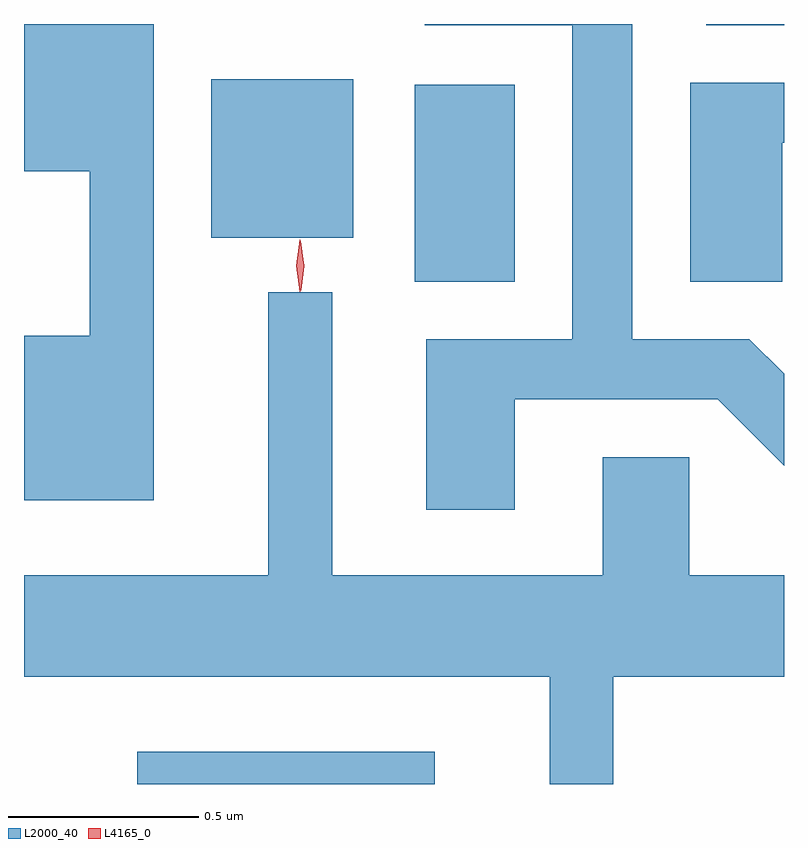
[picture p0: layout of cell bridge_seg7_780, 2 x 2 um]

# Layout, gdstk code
import gdstk
lib = gdstk.Library(unit=1e-6, precision=1e-09)
def R(c, l, rs):  # rectangles x0, y0, x1, y1
    for r in rs: c.add(gdstk.rectangle(r[:2], r[2:], *l))
def P(c, l, *ps):  # polygons
    for p in ps: c.add(gdstk.Polygon(p, *l))
L2000_40 = (2000, 40)
L4165_0 = (4165, 0)

bridge_seg7_780 = lib.new_cell('bridge_seg7_780')
R(bridge_seg7_780, L2000_40, [(470.966,1749.554,471.749,1749.639), (471.696,1750.876,471.959,1751.394), (471.161,1750.991,471.534,1751.409), (472.463,1751.551,472.668,1751.554)])
P(bridge_seg7_780, L2000_40, [(471.009,1751.554),(470.668,1751.554),(470.668,1751.166),(470.841,1751.166),(470.841,1750.734),(470.668,1750.734),(470.668,1750.301),(471.009,1750.301)],
  [(471.959,1750.566),(472.494,1750.566),(472.668,1750.392),(472.668,1750.633),(472.577,1750.724),(472.269,1750.724),(472.269,1751.554),(471.723,1751.554),(471.723,1751.551),(472.111,1751.551),(472.111,1750.724),(471.726,1750.724),(471.726,1750.276),(471.959,1750.276)],
  [(472.664,1751.241),(472.668,1751.241),(472.668,1751.399),(472.421,1751.399),(472.421,1750.876),(472.664,1750.876)],
  [(472.219,1749.836),(472.668,1749.836),(472.668,1750.104),(472.419,1750.104),(472.419,1750.414),(472.191,1750.414),(472.191,1750.104),(471.479,1750.104),(471.479,1750.848),(471.311,1750.848),(471.311,1750.104),(470.668,1750.104),(470.668,1749.836),(472.051,1749.836),(472.051,1749.554),(472.219,1749.554)])
P(bridge_seg7_780, L4165_0, [(471.394,1750.85),(471.385,1750.918),(471.394,1750.986),(471.395,1750.986),(471.395,1750.986),(471.405,1750.918),(471.395,1750.85),(471.395,1750.85)],
  [(471.396,1750.853),(471.386,1750.917),(471.396,1750.982),(471.396,1750.982),(471.396,1750.982),(471.406,1750.917),(471.397,1750.853),(471.397,1750.853)])

lib.write_gds('bridge_seg7_780.gds')
